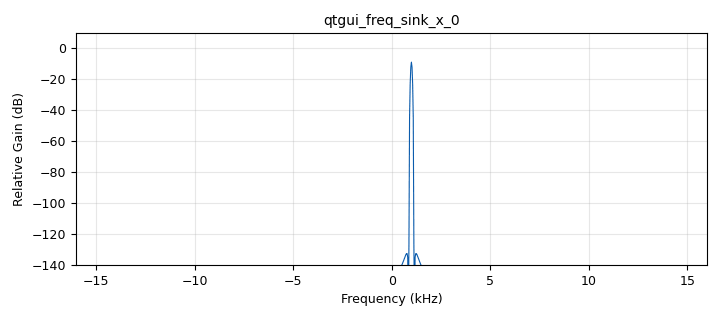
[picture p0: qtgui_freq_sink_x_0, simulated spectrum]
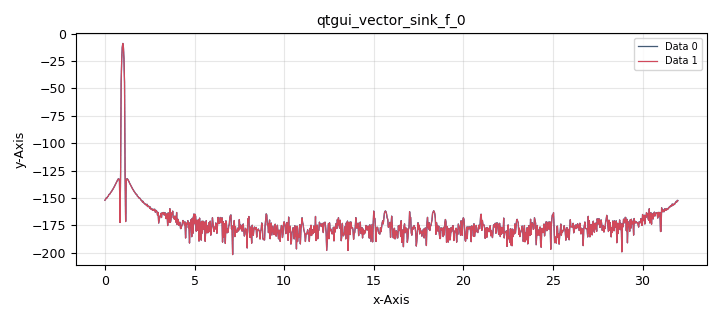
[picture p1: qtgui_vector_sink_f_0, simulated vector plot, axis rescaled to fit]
options:
  parameters:
    author: zzaw
    generate_options: qt_gui
    id: TEST_fft
    output_language: python
    title: Not titled yet
  states: {}

blocks:
- name: amp_sig_src
  id: variable_qtgui_range
  parameters:
    start: '0'
    step: '1e-1'
    stop: '4'
    value: '1'
  states: {}
- name: fft_size
  id: variable
  parameters:
    value: '1024'
  states: {}
- name: freq_sig_src
  id: variable_qtgui_range
  parameters:
    start: '0'
    step: '1'
    stop: 1e4
    value: 1e3
  states: {}
- name: samp_rate
  id: variable
  parameters:
    value: '32000'
  states: {}
- name: analog_sig_source_x_0
  id: analog_sig_source_x
  parameters:
    amp: amp_sig_src
    freq: freq_sig_src
    offset: '0'
    phase: '0'
    samp_rate: samp_rate
    type: complex
    waveform: analog.GR_COS_WAVE
  states: {}
- name: blocks_complex_to_mag_squared_0
  id: blocks_complex_to_mag_squared
  parameters:
    vlen: fft_size
  states: {}
- name: blocks_multiply_const_xx_0
  id: blocks_multiply_const_xx
  parameters:
    const: 1/fft_size
    type: complex
    vlen: fft_size
  states: {}
- name: blocks_nlog10_ff_0
  id: blocks_nlog10_ff
  parameters:
    k: '0'
    n: '10'
    vlen: fft_size
  states: {}
- name: blocks_stream_to_vector_0
  id: blocks_stream_to_vector
  parameters:
    num_items: fft_size
    type: complex
  states: {}
- name: blocks_throttle_0
  id: blocks_throttle
  parameters:
    samples_per_second: samp_rate
    type: complex
  states: {state: disabled}
- name: fft_vxx_0
  id: fft_vxx
  parameters:
    fft_size: fft_size
    forward: 'True'
    shift: 'False'
    type: complex
    window: window.blackmanharris(fft_size)
  states: {}
- name: logpwrfft_x_0
  id: logpwrfft_x
  parameters:
    average: 'False'
    avg_alpha: '1'
    fft_size: fft_size
    frame_rate: '30'
    ref_scale: '4'
    sample_rate: samp_rate
    shift: 'False'
    type: complex
  states: {}
- name: qtgui_freq_sink_x_0
  id: qtgui_freq_sink_x
  parameters:
    bw: samp_rate
    fc: '0'
    fftsize: fft_size
    type: complex
  states: {}
- name: qtgui_vector_sink_f_0
  id: qtgui_vector_sink_f
  parameters:
    nconnections: '2'
    update_time: '0.05'
    vlen: fft_size
    x_start: '0'
    x_step: 1e3/samp_rate*1024/fft_size
  states: {}
- name: vsink_fft_1
  id: virtual_sink
  parameters:
    stream_id: '1'
  states: {}
- name: vsink_fft_2
  id: virtual_sink
  parameters:
    stream_id: '2'
  states: {}
- name: vsink_sig_src
  id: virtual_sink
  parameters:
    stream_id: '0'
  states: {}
- name: vsrc_fft_1
  id: virtual_source
  parameters:
    stream_id: '1'
  states: {}
- name: vsrc_fft_2
  id: virtual_source
  parameters:
    stream_id: '2'
  states: {}
- name: vsrc_sig_src
  id: virtual_source
  parameters:
    stream_id: '0'
  states: {}
- name: vsrc_sig_src_0
  id: virtual_source
  parameters:
    stream_id: '0'
  states: {}

connections:
- [analog_sig_source_x_0, '0', blocks_throttle_0, '0']
- [analog_sig_source_x_0, '0', vsink_sig_src, '0']
- [blocks_complex_to_mag_squared_0, '0', blocks_nlog10_ff_0, '0']
- [blocks_multiply_const_xx_0, '0', blocks_complex_to_mag_squared_0, '0']
- [blocks_nlog10_ff_0, '0', vsink_fft_1, '0']
- [blocks_stream_to_vector_0, '0', fft_vxx_0, '0']
- [blocks_throttle_0, '0', vsink_sig_src, '0']
- [fft_vxx_0, '0', blocks_multiply_const_xx_0, '0']
- [logpwrfft_x_0, '0', vsink_fft_2, '0']
- [vsrc_fft_1, '0', qtgui_vector_sink_f_0, '0']
- [vsrc_fft_2, '0', qtgui_vector_sink_f_0, '1']
- [vsrc_sig_src, '0', blocks_stream_to_vector_0, '0']
- [vsrc_sig_src, '0', logpwrfft_x_0, '0']
- [vsrc_sig_src_0, '0', qtgui_freq_sink_x_0, '0']

metadata:
  file_format: 1
  grc_version: 3.10.4.0
